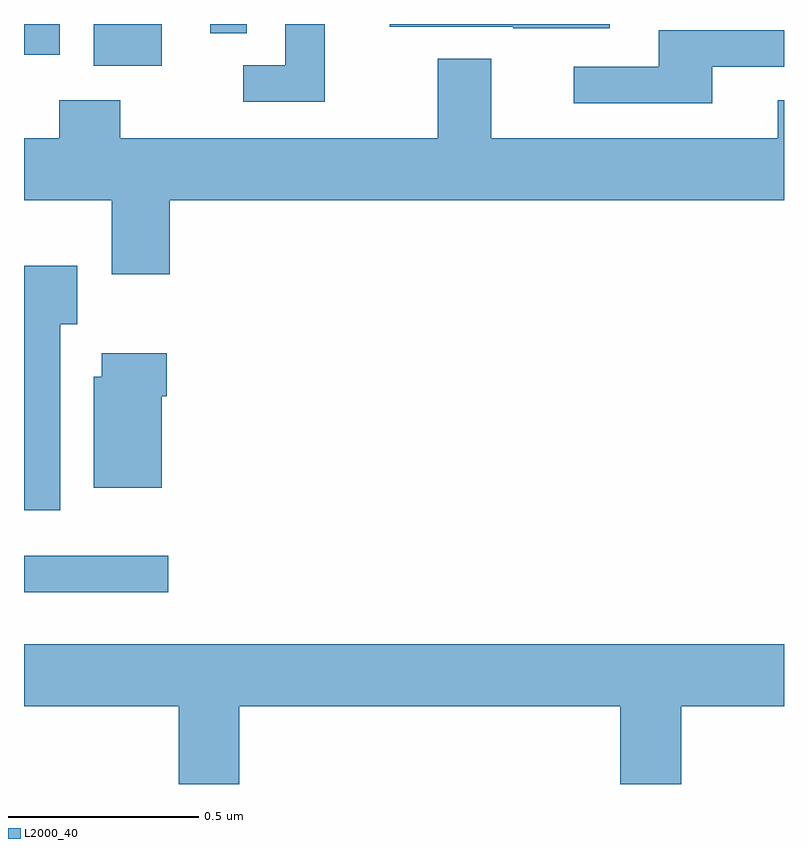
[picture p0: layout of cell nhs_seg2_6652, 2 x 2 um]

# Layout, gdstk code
import gdstk
lib = gdstk.Library(unit=1e-6, precision=1e-09)
def R(c, l, rs):  # rectangles x0, y0, x1, y1
    for r in rs: c.add(gdstk.rectangle(r[:2], r[2:], *l))
def P(c, l, *ps):  # polygons
    for p in ps: c.add(gdstk.Polygon(p, *l))
L2000_40 = (2000, 40)

nhs_seg2_6652 = lib.new_cell('nhs_seg2_6652')
R(nhs_seg2_6652, L2000_40, [(194,613.304,194.38,613.401), (194.183,614.69,194.362,614.8), (194,614.719,194.094,614.8), (194.49,614.776,194.586,614.8)])
P(nhs_seg2_6652, L2000_40, [(194.791,614.8),(194.687,614.8),(194.687,614.691),(194.577,614.691),(194.577,614.595),(194.791,614.595)],
  [(195.541,614.8),(194.963,614.8),(194.963,614.793),(195.287,614.793),(195.287,614.789),(195.541,614.789)],
  [(195.811,614.688),(196,614.688),(196,614.784),(195.671,614.784),(195.671,614.688),(195.447,614.688),(195.447,614.592),(195.811,614.592)],
  [(194.384,614.336),(196,614.336),(196,614.599),(195.983,614.599),(195.983,614.5),(195.229,614.5),(195.229,614.708),(195.089,614.708),(195.089,614.5),(194.253,614.5),(194.253,614.599),(194.093,614.599),(194.093,614.5),(194,614.5),(194,614.336),(194.231,614.336),(194.231,614.142),(194.384,614.142)],
  [(194.095,614.01),(194.14,614.01),(194.14,614.164),(194,614.164),(194,613.521),(194.095,613.521)],
  [(194.362,613.82),(194.375,613.82),(194.375,613.933),(194.204,613.933),(194.204,613.872),(194.183,613.872),(194.183,613.58),(194.362,613.58)],
  [(194.567,613.004),(195.569,613.004),(195.569,612.8),(195.729,612.8),(195.729,613.004),(196,613.004),(196,613.168),(194,613.168),(194,613.004),(194.407,613.004),(194.407,612.8),(194.567,612.8)])

lib.write_gds('nhs_seg2_6652.gds')
